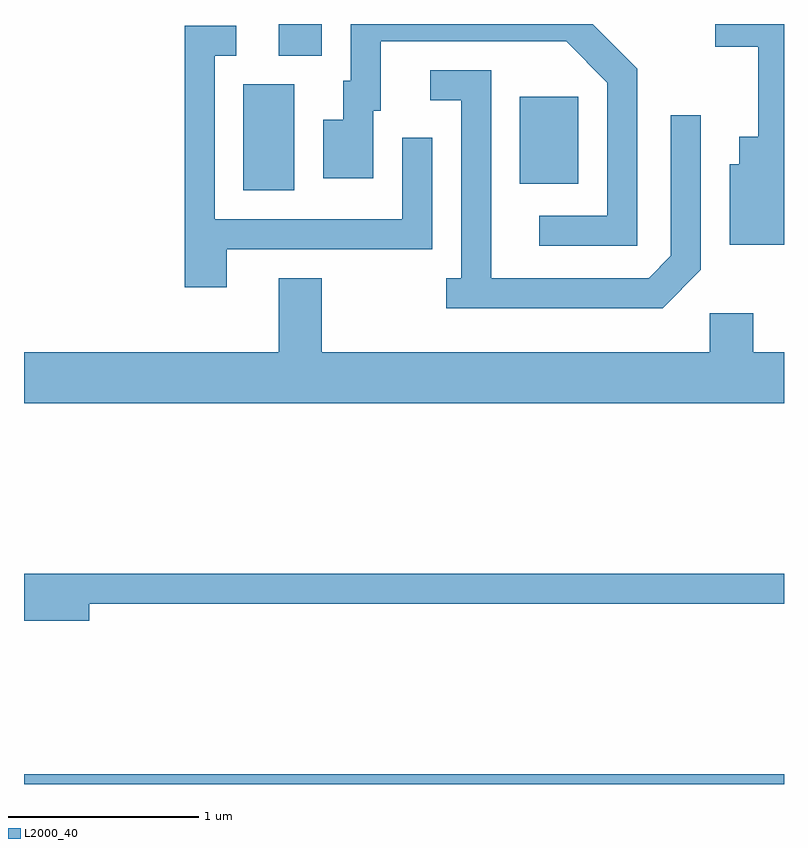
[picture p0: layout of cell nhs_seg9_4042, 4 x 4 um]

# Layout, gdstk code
import gdstk
lib = gdstk.Library(unit=1e-6, precision=1e-09)
def R(c, l, rs):  # rectangles x0, y0, x1, y1
    for r in rs: c.add(gdstk.rectangle(r[:2], r[2:], *l))
def P(c, l, *ps):  # polygons
    for p in ps: c.add(gdstk.Polygon(p, *l))
L2000_40 = (2000, 40)

nhs_seg9_4042 = lib.new_cell('nhs_seg9_4042')
R(nhs_seg9_4042, L2000_40, [(303.611,2036.432,307.611,2036.484), (304.766,2039.556,305.034,2040.114), (306.221,2039.591,306.529,2040.049), (304.951,2040.266,305.179,2040.432)])
P(nhs_seg9_4042, L2000_40, [(306.839,2040.197),(306.604,2040.432),(305.331,2040.432),(305.331,2040.134),(305.291,2040.134),(305.291,2039.929),(305.186,2039.929),(305.186,2039.621),(305.449,2039.621),(305.449,2039.976),(305.489,2039.976),(305.489,2040.341),(306.464,2040.341),(306.681,2040.124),(306.681,2039.424),(306.323,2039.424),(306.323,2039.266),(306.839,2039.266)],
  [(307.611,2040.432),(307.248,2040.432),(307.248,2040.311),(307.476,2040.311),(307.476,2039.839),(307.376,2039.839),(307.376,2039.694),(307.326,2039.694),(307.326,2039.271),(307.611,2039.271)],
  [(304.679,2039.246),(305.759,2039.246),(305.759,2039.833),(305.601,2039.833),(305.601,2039.404),(304.614,2039.404),(304.614,2040.266),(304.728,2040.266),(304.728,2040.424),(304.456,2040.424),(304.456,2039.046),(304.679,2039.046)],
  [(307.174,2039.139),(307.174,2039.953),(307.016,2039.953),(307.016,2039.212),(306.899,2039.094),(306.069,2039.094),(306.069,2040.189),(305.748,2040.189),(305.748,2040.031),(305.911,2040.031),(305.911,2039.094),(305.833,2039.094),(305.833,2038.936),(306.972,2038.936)],
  [(307.611,2038.704),(307.449,2038.704),(307.449,2038.909),(307.221,2038.909),(307.221,2038.704),(305.179,2038.704),(305.179,2039.094),(304.951,2039.094),(304.951,2038.704),(303.611,2038.704),(303.611,2038.436),(307.611,2038.436)],
  [(303.954,2037.381),(307.611,2037.381),(307.611,2037.539),(303.611,2037.539),(303.611,2037.291),(303.954,2037.291)])

lib.write_gds('nhs_seg9_4042.gds')
